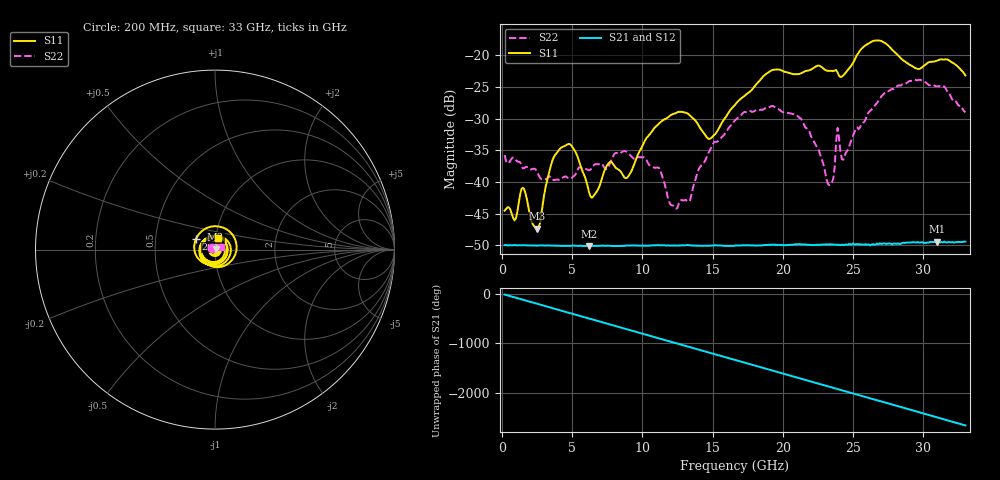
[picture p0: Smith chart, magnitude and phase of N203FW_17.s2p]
# GHZ S RI R 50
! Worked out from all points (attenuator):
!   329 points, 200 MHz to 33 GHz, reference 50 ohm
!   highest |S21| = -49.39 dB at 31 GHz (marker M1); lowest = -50.1 dB at 6.2 GHz (marker M2)
!   lowest |S11| = -47.4 dB at 2.5 GHz (marker M3), VSWR 1.01, Z = 50.3 + j0.27 ohm
!   |S11| at or under -10 dB: start of sweep to end of sweep
!   |S22| runs from -44.2 to -23.9 dB; largest |S21 - S12| = 8.8e-05
!   S11 on the Smith chart (normalised r, x): 200 MHz: 1.01, +0.01; 26 GHz: 0.80, +0.10; 33 GHz: 1.03, +0.14
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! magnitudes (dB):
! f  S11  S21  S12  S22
! 200 MHz  -44.5  -50.0  -49.9  -35.8
! 1 GHz  -45.8  -50.0  -50.0  -36.5
! 1.5 GHz  -40.9  -50.0  -50.0  -37.9
! 2.5 GHz  -47.4  -50.0  -50.0  -38.3
! 3.8 GHz  -35.7  -50.1  -50.0  -39.7
! 5.7 GHz  -38.1  -50.1  -50.1  -37.8
! 6.2 GHz  -41.5  -50.1  -50.1  -38.2
! 9 GHz  -39.1  -50.0  -50.0  -35.5
! 11.2 GHz  -30.8  -50.0  -50.0  -37.8
! 12 GHz  -29.5  -50.0  -50.0  -43.5
! 13.3 GHz  -29.3  -50.0  -50.0  -43.1
! 14.8 GHz  -33.2  -50.0  -50.0  -35.0
! 16.6 GHz  -27.8  -50.0  -50.0  -30.3
! 19.3 GHz  -22.3  -49.9  -49.9  -28.0
! 22.1 GHz  -22.2  -49.9  -49.9  -33.1
! 23.3 GHz  -22.5  -49.8  -49.8  -40.5
! 23.9 GHz  -22.7  -49.9  -49.9  -31.5
! 24.3 GHz  -23.2  -49.9  -49.8  -36.5
! 26 GHz  -18.3  -49.9  -49.8  -29.5
! 27.6 GHz  -18.7  -49.7  -49.7  -25.6
! 31 GHz  -20.8  -49.4  -49.4  -24.9
! 33 GHz  -23.2  -49.4  -49.4  -29.0
